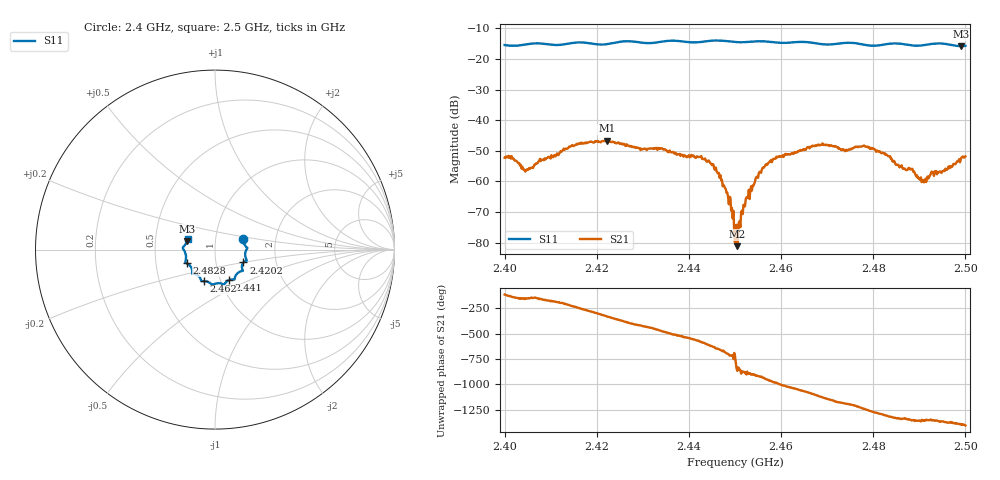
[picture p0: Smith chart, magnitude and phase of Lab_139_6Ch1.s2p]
# Hz S RI R 50
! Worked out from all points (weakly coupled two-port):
!   601 points, 2.4 GHz to 2.5 GHz, reference 50 ohm
!   highest |S21| = -46.64 dB at 2.4222 GHz (marker M1); lowest = -81.2 dB at 2.4505 GHz (marker M2)
!   lowest |S11| = -15.8 dB at 2.499 GHz (marker M3), VSWR 1.39, Z = 36.4 + j3.53 ohm
!   |S11| at or under -10 dB: start of sweep to end of sweep
!   S12 and S22 are empty: the file has one direction only
!   S11 on the Smith chart (normalised r, x): 2.4 GHz: 1.36, +0.17; 2.4202 GHz: 1.36, -0.20; 2.441 GHz: 1.10, -0.39; 2.462 GHz: 0.84, -0.30; 2.4828 GHz: 0.72, -0.11; 2.5 GHz: 0.73, +0.09
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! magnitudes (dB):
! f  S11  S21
! 2.4 GHz  -15.4  -52.2
! 2.4047 GHz  -15.2  -56.3
! 2.4167 GHz  -14.6  -47.3
! 2.4202 GHz  -15.2  -46.7
! 2.4222 GHz  -15.1  -46.6
! 2.4333 GHz  -14.5  -49.1
! 2.441 GHz  -14.6  -51.5
! 2.4447 GHz  -14.0  -54.0
! 2.4463 GHz  -13.9  -57.4
! 2.4485 GHz  -14.2  -65.1
! 2.45 GHz  -14.4  -80.2
! 2.4505 GHz  -14.5  -81.2
! 2.4525 GHz  -14.4  -65.2
! 2.4557 GHz  -14.2  -57.2
! 2.462 GHz  -14.6  -51.2
! 2.4667 GHz  -14.6  -48.6
! 2.4783 GHz  -15.4  -48.7
! 2.4828 GHz  -15.1  -51.2
! 2.4833 GHz  -15.0  -51.8
! 2.491 GHz  -15.5  -60.3
! 2.499 GHz  -15.8  -52.7
! 2.5 GHz  -15.7  -51.8
